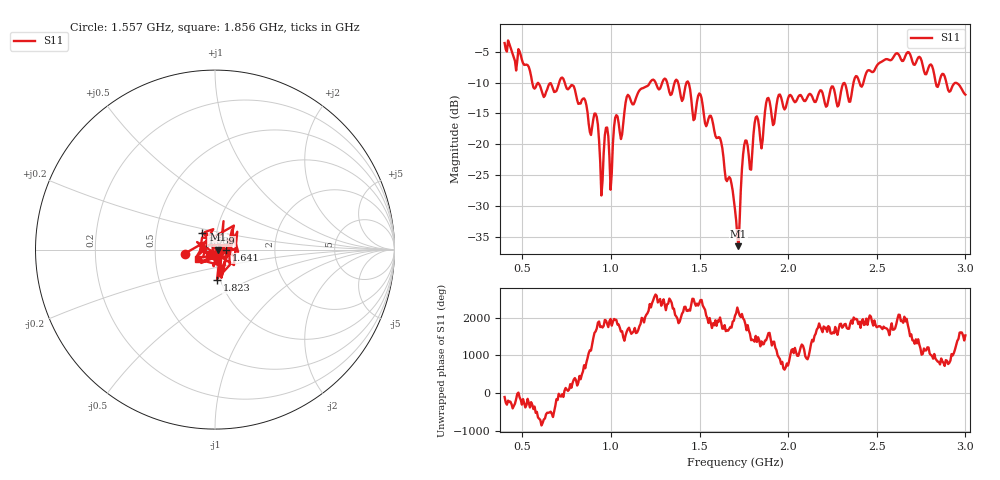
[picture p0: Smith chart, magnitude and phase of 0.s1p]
!Created with skrf (http://scikit-rf.org).
# Hz S RI R 50.0
!freq ReS11 ImS11
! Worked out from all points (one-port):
!   401 points, 400 MHz to 3 GHz, reference 50 ohm
!   lowest |S11| = -36.6 dB at 1.72 GHz (marker M1), VSWR 1.03, Z = 51.5 - j0.0765 ohm
!   |S11| at or under -10 dB: 556 MHz to 707.8 MHz (151.7 MHz wide, 24 % of centre); 739.2 MHz to 1.22 GHz (480.7 MHz wide, 49.1 % of centre); 1.437 GHz to 2.369 GHz (931.5 MHz wide, 49 % of centre) (the widest 3 of 9)
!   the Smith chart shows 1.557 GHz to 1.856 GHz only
!   S11 on the Smith chart (normalised r, x): 1.557 GHz: 0.71, -0.03; 1.589 GHz: 0.85, +0.16; 1.641 GHz: 1.13, -0.00; 1.823 GHz: 0.97, -0.33; 1.856 GHz: 0.83, -0.09
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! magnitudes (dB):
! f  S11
! 400 MHz  -3.6
! 621 MHz  -12.3
! 725 MHz  -9.2
! 848.5 MHz  -12.5
! 887.5 MHz  -18.5
! 913.5 MHz  -15.0
! 946 MHz  -28.3
! 972 MHz  -17.3
! 998 MHz  -27.4
! 1.03 GHz  -15.3
! 1.05 GHz  -18.1
! 1.095 GHz  -12.0
! 1.375 GHz  -9.7
! 1.557 GHz  -15.4
! 1.589 GHz  -18.6
! 1.641 GHz  -24.2
! 1.7 GHz  -30.6
! 1.72 GHz  -36.6
! 1.752 GHz  -20.1
! 1.791 GHz  -24.1
! 1.823 GHz  -15.5
! 1.856 GHz  -19.4
! 1.882 GHz  -12.6
! 1.915 GHz  -16.9
! 2.025 GHz  -12.5
! 2.35 GHz  -13.1
! 2.675 GHz  -5.0
! 3 GHz  -11.9
